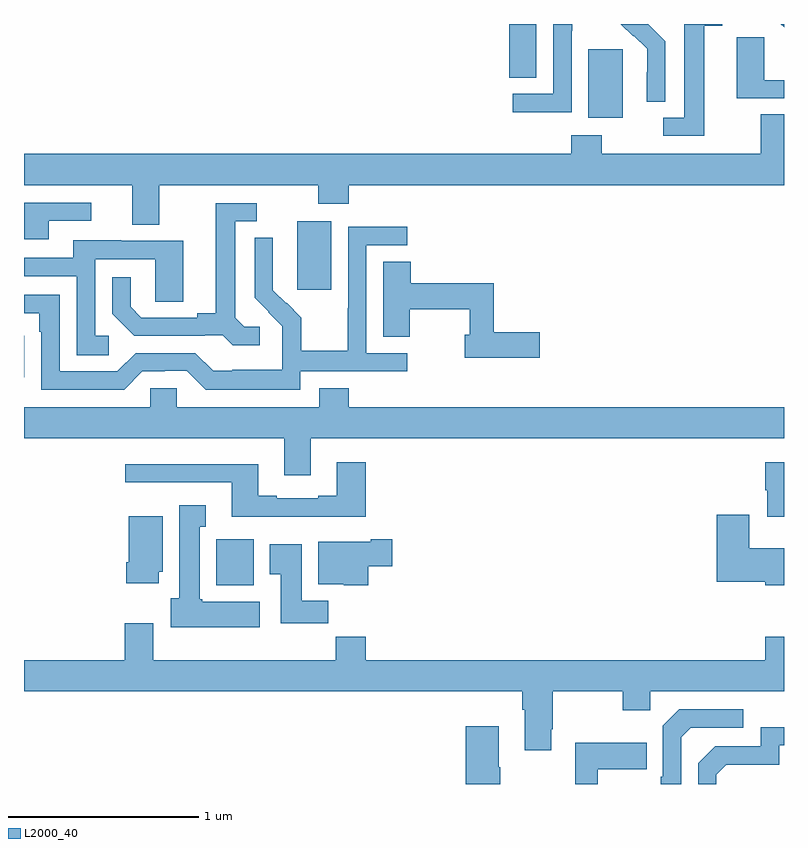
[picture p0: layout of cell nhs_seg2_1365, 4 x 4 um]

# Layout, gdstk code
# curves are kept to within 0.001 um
import gdstk
lib = gdstk.Library(unit=1e-6, precision=1e-09)
def R(c, l, rs):  # rectangles x0, y0, x1, y1
    for r in rs: c.add(gdstk.rectangle(r[:2], r[2:], *l))
def P(c, l, *ps):  # polygons
    for p in ps: c.add(gdstk.Polygon(p, *l))
L2000_40 = (2000, 40)

nhs_seg2_1365 = lib.new_cell('nhs_seg2_1365')
R(nhs_seg2_1365, L2000_40, [(182.012,662.846,182.209,663.088), (181,663.942,181.001,664.16), (182.438,664.401,182.617,664.762), (183.971,665.306,184.15,665.667), (183.554,665.518,183.697,665.8)])
P(nhs_seg2_1365, L2000_40, [(183.882,665.764),(183.885,665.764),(183.885,665.8),(183.786,665.8),(183.786,665.433),(183.573,665.433),(183.573,665.335),(183.882,665.335)],
  [(184.374,665.71),(184.301,665.783),(184.302,665.784),(184.286,665.8),(184.142,665.8),(184.206,665.736),(184.209,665.739),(184.28,665.669),(184.28,665.546),(184.278,665.546),(184.278,665.392),(184.374,665.392)],
  [(185,665.8),(184.984,665.8),(185,665.784)],
  [(184.579,665.792),(184.675,665.792),(184.675,665.8),(184.475,665.8),(184.475,665.307),(184.365,665.307),(184.365,665.211),(184.579,665.211)],
  [(185,665.505),(184.896,665.505),(184.896,665.729),(184.751,665.729),(184.751,665.409),(185,665.409)],
  [(181.711,664.952),(182.548,664.952),(182.548,664.853),(182.708,664.853),(182.708,664.952),(185,664.952),(185,665.324),(184.877,665.324),(184.877,665.116),(184.041,665.116),(184.041,665.215),(183.881,665.215),(183.881,665.116),(181,665.116),(181,664.952),(181.571,664.952),(181.571,664.744),(181.711,664.744)],
  [(181.129,664.764),(181.354,664.764),(181.354,664.86),(181,664.86),(181,664.668),(181.129,664.668)],
  [(182.242,664.206),(182.16,664.206),(182.113,664.253),(182.113,664.761),(182.224,664.761),(182.224,664.857),(182.009,664.857),(182.009,664.277),(181.913,664.277),(181.913,664.254),(181.618,664.254),(181.561,664.311),(181.561,664.468),(181.464,664.468),(181.464,664.274),(181.58,664.158),(181.952,664.158),(181.952,664.161),(182.046,664.161),(182.098,664.109),(182.242,664.109)],
  [(182.454,663.972),(183.016,663.972),(183.016,664.068),(182.802,664.068),(182.802,664.635),(183.016,664.635),(183.016,664.734),(182.706,664.734),(182.706,664.304),(182.704,664.304),(182.704,664.081),(182.459,664.081),(182.459,664.255),(182.382,664.332),(182.379,664.329),(182.309,664.4),(182.31,664.676),(182.214,664.676),(182.214,664.358),(182.36,664.21),(182.36,664.113),(182.358,664.113),(182.358,663.979),(182.095,663.979),(182.095,663.975),(181.995,663.975),(181.902,664.068),(181.587,664.068),(181.491,663.972),(181.188,663.972),(181.188,664.374),(181,664.374),(181,664.278),(181.079,664.278),(181.079,664.181),(181.092,664.181),(181.092,663.876),(181.527,663.876),(181.623,663.972),(181.742,663.972),(181.742,663.975),(181.857,663.975),(181.957,663.875),(182.454,663.875)],
  [(181.447,664.158),(181.374,664.158),(181.374,664.563),(181.692,664.563),(181.692,664.339),(181.837,664.339),(181.837,664.659),(181.513,664.659),(181.513,664.663),(181.259,664.663),(181.259,664.569),(181,664.569),(181,664.473),(181.278,664.473),(181.278,664.057),(181.447,664.057)],
  [(183.715,664.178),(183.473,664.178),(183.473,664.436),(183.035,664.436),(183.035,664.55),(182.891,664.55),(182.891,664.153),(183.03,664.153),(183.03,664.3),(183.345,664.3),(183.345,664.165),(183.319,664.165),(183.319,664.043),(183.715,664.043)],
  [(182.509,663.62),(185,663.62),(185,663.784),(182.708,663.784),(182.708,663.883),(182.555,663.883),(182.555,663.784),(181.803,663.784),(181.803,663.882),(181.665,663.882),(181.665,663.784),(181,663.784),(181,663.62),(182.369,663.62),(182.369,663.426),(182.509,663.426)],
  [(182.798,663.493),(182.645,663.493),(182.645,663.316),(182.549,663.316),(182.549,663.303),(182.329,663.303),(182.329,663.316),(182.233,663.316),(182.233,663.484),(181.533,663.484),(181.533,663.387),(182.093,663.387),(182.093,663.206),(182.798,663.206)],
  [(185,663.493),(184.901,663.493),(184.901,663.345),(184.913,663.345),(184.913,663.206),(185,663.206)],
  [(182.242,662.758),(181.938,662.758),(181.938,662.772),(181.924,662.772),(181.924,663.155),(181.957,663.155),(181.957,663.268),(181.817,663.268),(181.817,662.778),(181.772,662.778),(181.772,662.624),(182.242,662.624)],
  [(185,663.04),(184.816,663.04),(184.816,663.217),(184.646,663.217),(184.646,662.864),(184.902,662.864),(184.902,662.846),(185,662.846)],
  [(181.708,662.916),(181.729,662.916),(181.729,663.208),(181.55,663.208),(181.55,662.968),(181.538,662.968),(181.538,662.856),(181.708,662.856)],
  [(182.813,662.947),(182.938,662.947),(182.938,663.089),(182.825,663.089),(182.825,663.076),(182.549,663.076),(182.549,662.852),(182.682,662.852),(182.682,662.846),(182.813,662.846)],
  [(182.6,662.764),(182.461,662.764),(182.461,663.061),(182.294,663.061),(182.294,662.905),(182.351,662.905),(182.351,662.646),(182.6,662.646)],
  [(183.623,662.192),(183.635,662.192),(183.635,661.977),(183.775,661.977),(183.775,662.089),(183.783,662.089),(183.783,662.288),(184.15,662.288),(184.15,662.189),(184.296,662.189),(184.296,662.288),(185,662.288),(185,662.576),(184.901,662.576),(184.901,662.452),(182.798,662.452),(182.798,662.576),(182.641,662.576),(182.641,662.452),(181.681,662.452),(181.681,662.647),(181.529,662.647),(181.529,662.452),(181,662.452),(181,662.288),(183.623,662.288)],
  [(184.458,662.046),(184.509,662.097),(184.786,662.097),(184.786,662.193),(184.449,662.193),(184.362,662.106),(184.362,661.837),(184.35,661.837),(184.35,661.8),(184.458,661.8)],
  [(183.507,661.889),(183.499,661.889),(183.499,662.104),(183.326,662.104),(183.326,661.8),(183.507,661.8)],
  [(184.644,661.848),(184.697,661.901),(184.974,661.901),(184.974,662.004),(185,662.004),(185,662.1),(184.878,662.1),(184.878,661.998),(184.638,661.998),(184.548,661.908),(184.548,661.8),(184.644,661.8)],
  [(184.021,661.877),(184.277,661.877),(184.277,662.017),(183.9,662.017),(183.9,661.8),(184.021,661.8)])

lib.write_gds('nhs_seg2_1365.gds')
